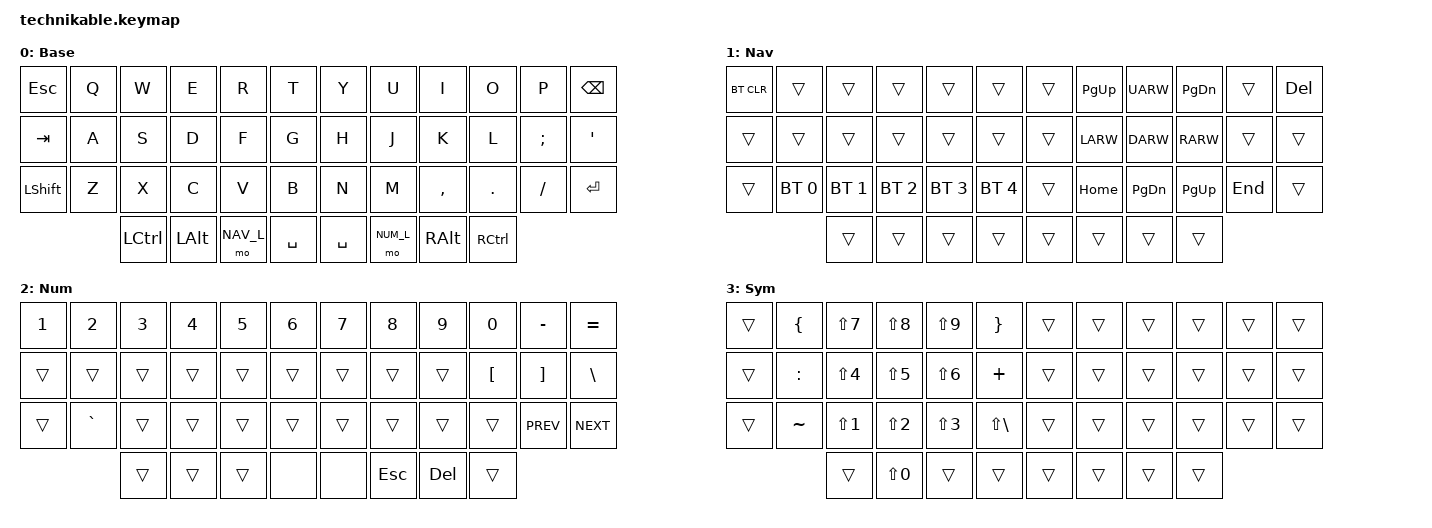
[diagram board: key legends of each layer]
/*
 * Copyright (c) 2022 Pete Johanson
 *
 * SPDX-License-Identifier: MIT
 */

#include <behaviors.dtsi>
#include <dt-bindings/zmk/keys.h>
#include <dt-bindings/zmk/bt.h>
#include <dt-bindings/zmk/outputs.h>

#define BAS_L 0
#define NAV_L 1
#define NUM_L 2
#define SYM_L 3

// Using layer taps on thumbs,  having quick tap as well helps w/ repeating space/backspace
&lt { quick_tap_ms = <200>; };

/ {
    chosen {
       zmk,matrix_transform = &ortho_transform;
    };

    conditional_layers {
        compatible = "zmk,conditional-layers";
	tri_layer {
	    if-layers = <NAV_L NUM_L>;
	    then-layer = <SYM_L>;
	};
    };

    keymap {
        compatible = "zmk,keymap";

        base_layer {
            label = "Base";
            bindings = <
 &kp ESC    &kp Q      &kp W      &kp E       &kp R          &kp T          &kp Y            &kp U          &kp I       &kp O      &kp P         &kp BKSP
 &kp TAB    &kp A      &kp S      &kp D       &kp F          &kp G          &kp H            &kp J          &kp K       &kp L      &kp SEMI      &kp QUOT
 &kp LSHFT  &kp Z      &kp X      &kp C       &kp V          &kp B          &kp N            &kp M          &kp COMMA   &kp DOT    &kp FSLH      &kp RET
                       &kp LCTRL  &kp LALT    &mo NAV_L      &kp SPACE      &kp SPACE        &mo NUM_L      &kp RALT    &kp RCTRL
            >;
        };

        nav_layer {
            label = "Nav";
            bindings = <
&bt BT_CLR &trans     &trans     &trans      &trans          &trans       &trans     &kp PG_UP        &kp UARW      &kp PG_DN     &trans     &kp DEL
&trans     &trans     &trans     &trans      &trans          &trans       &trans     &kp LARW         &kp DARW       &kp RARW   &trans     &trans
&trans     &bt BT_SEL 0  &bt BT_SEL 1  &bt BT_SEL 2   &bt BT_SEL 3       &bt BT_SEL 4    &trans       &kp HOME       &kp PG_DN   &kp PG_UP  &kp END    &trans
                      &trans     &trans      &trans          &trans       &trans    &trans  &trans         &trans
            >;
        };

        num_layer {
            label = "Num";
            bindings = <
&kp N1    &kp N2     &kp N3     &kp N4       &kp N5    &kp N6       &kp N7    &kp N8          &kp N9       &kp N0      &kp MINUS     &kp EQUAL
&trans    &trans     &trans     &trans       &trans    &trans       &trans    &trans          &trans       &kp LBKT    &kp RBKT      &kp BSLH
&trans    &kp GRAVE  &trans     &trans       &trans    &trans       &trans    &trans          &trans       &trans      &kp C_PREV    &kp C_NEXT
                     &trans     &trans      &trans     &none         &none    &kp ESC         &kp DEL      &trans
            >;
        };

        sym_layer {
            label = "Sym";
            bindings = <
&trans     &kp LBRC   &kp LS(N7) &kp LS(N8)  &kp LS(N9)   &kp RBRC     &trans     &trans    &trans       &trans       &trans     &trans
&trans     &kp COLON  &kp LS(N4) &kp LS(N5)  &kp LS(N6)   &kp PLUS     &trans     &trans    &trans       &trans       &trans     &trans
&trans     &kp TILDE  &kp LS(N1) &kp LS(N2)  &kp LS(N3)   &kp LS(BSLH) &trans     &trans    &trans       &trans       &trans     &trans
                      &trans     &kp LS(N0)      &trans          &trans       &trans    &trans  &trans         &trans
            >;
        };

    };
};

